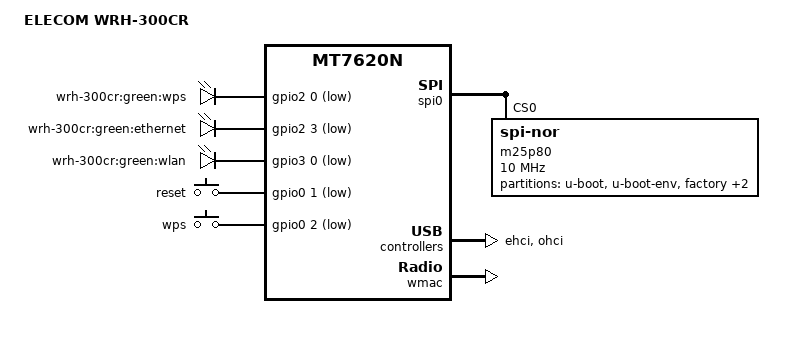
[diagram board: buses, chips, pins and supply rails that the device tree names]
/dts-v1/;

#include "mt7620n.dtsi"

/ {
	compatible = "elecom,wrh-300cr", "ralink,mt7620n-soc";
	model = "ELECOM WRH-300CR";

		gpio-leds {
		compatible = "gpio-leds";

		wps {
			label = "wrh-300cr:green:wps";
			gpios = <&gpio2 0 1>;
		};

		ethernet {
			label = "wrh-300cr:green:ethernet";
			gpios = <&gpio2 3 1>;
		};

		wlan {
			label = "wrh-300cr:green:wlan";
			gpios = <&gpio3 0 1>;
		};
	};

	gpio-keys-polled {
		compatible = "gpio-keys-polled";
		#address-cells = <1>;
		#size-cells = <0>;
		poll-interval = <20>;

		reset {
			label = "reset";
			gpios = <&gpio0 1 1>;
			linux,code = <0x198>;
		};

		wps {
			label = "wps";
			gpios = <&gpio0 2 1>;
			linux,code = <0x211>;
		};
	};
};

&gpio1 {
	status = "okay";
};

&gpio2 {
	status = "okay";
};

&gpio3 {
	status = "okay";
};

&spi0 {
	status = "okay";

	m25p80@0 {
		#address-cells = <1>;
		#size-cells = <1>;
		compatible = "jedec,spi-nor";
		reg = <0>;
		linux,modalias = "m25p80", "mx25l12805d";
		spi-max-frequency = <10000000>;

		partition@0 {
			label = "u-boot";
			reg = <0x0 0x30000>;
			read-only;
		};

		partition@30000 {
			label = "u-boot-env";
			reg = <0x30000 0x10000>;
		};

		factory: partition@40000 {
			label = "factory";
			reg = <0x40000 0x10000>;
			read-only;
		};

		partition@50000 {
			label = "recover";
			reg = <0x50000 0x1c0000>;
			read-only;
		};

		partition@210000 {
			label = "firmware";
			reg = <0x210000 0xdf0000>;
		};
	};
};

&ehci {
	status = "okay";
};

&ohci {
	status = "okay";
};

&ethernet {
	mtd-mac-address = <&factory 0x2e>;
	mediatek,portmap = "llllw";
};

&wmac {
	ralink,mtd-eeprom = <&factory 0>;
};

&pinctrl {
	state_default: pinctrl0 {
		default {
			ralink,group = "i2c", "ephy", "wled";
			ralink,function = "gpio";
		};
	};
};
